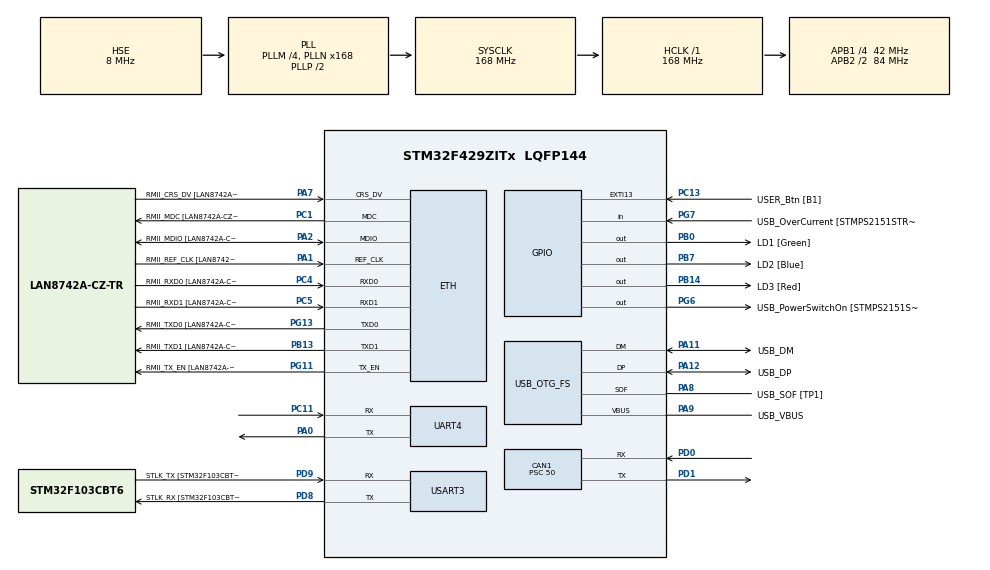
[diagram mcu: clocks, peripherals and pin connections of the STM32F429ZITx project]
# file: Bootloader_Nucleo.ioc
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CAN1.CalculateBaudRate=280000
CAN1.CalculateTimeBit=3571
CAN1.CalculateTimeQuantum=1190.4761904761906
CAN1.Prescaler=50
ETH.MediaInterface=HAL_ETH_RMII_MODE
ETH.PHY_Name=LAN8742A_PHY_ADDRESS
ETH.PHY_Value=0
ETH.PhyAddress=0
Mcu.Family=STM32F4
Mcu.Name=STM32F429ZITx
Mcu.Package=LQFP144
NVIC.CAN1_RX0_IRQn=true\:0\:0\:false\:false\:true\:true\:true\:true
NVIC.CAN1_RX1_IRQn=true\:0\:0\:false\:false\:true\:true\:true\:true
NVIC.CAN1_TX_IRQn=true\:0\:0\:false\:false\:true\:true\:true\:true
NVIC.PriorityGroup=NVIC_PRIORITYGROUP_4
NVIC.UART4_IRQn=true\:0\:0\:false\:false\:true\:true\:true\:true
PA0/WKUP.Mode=Asynchronous
PA0/WKUP.Signal=UART4_TX
PA1.GPIO_Label=RMII_REF_CLK [LAN8742A-CZ-TR_REFCLK0]
PA1.Mode=RMII
PA1.Signal=ETH_REF_CLK
PA10.GPIO_Label=USB_ID
PA10.Signal=USB_OTG_FS_ID
PA11.GPIO_Label=USB_DM
PA11.Mode=Device_Only
PA11.Signal=USB_OTG_FS_DM
PA12.GPIO_Label=USB_DP
PA12.Mode=Device_Only
PA12.Signal=USB_OTG_FS_DP
PA13.GPIO_Label=TMS
PA13.Mode=Serial_Wire
PA13.Signal=SYS_JTMS-SWDIO
PA14.GPIO_Label=TCK
PA14.Mode=Serial_Wire
PA14.Signal=SYS_JTCK-SWCLK
PA2.GPIO_Label=RMII_MDIO [LAN8742A-CZ-TR_MDIO]
PA2.Mode=RMII
PA2.Signal=ETH_MDIO
PA7.GPIO_Label=RMII_CRS_DV [LAN8742A-CZ-TR_CRS_DV]
PA7.Mode=RMII
PA7.Signal=ETH_CRS_DV
PA8.GPIO_Label=USB_SOF [TP1]
PA8.Mode=Activate_SOF_FS
PA8.Signal=USB_OTG_FS_SOF
PA9.GPIO_Label=USB_VBUS
PA9.Mode=Activate_VBUS
PA9.Signal=USB_OTG_FS_VBUS
PB0.GPIO_Label=LD1 [Green]
PB0.Signal=GPIO_Output
PB13.GPIO_Label=RMII_TXD1 [LAN8742A-CZ-TR_TXD1]
PB13.Mode=RMII
PB13.Signal=ETH_TXD1
PB14.GPIO_Label=LD3 [Red]
PB14.Signal=GPIO_Output
PB7.GPIO_Label=LD2 [Blue]
PB7.Signal=GPIO_Output
PC1.GPIO_Label=RMII_MDC [LAN8742A-CZ-TR_MDC]
PC1.Mode=RMII
PC1.Signal=ETH_MDC
PC11.Mode=Asynchronous
PC11.Signal=UART4_RX
PC13.GPIO_Label=USER_Btn [B1]
PC13.Signal=GPXTI13
PC14/OSC32_IN.Mode=LSE-External-Oscillator
PC14/OSC32_IN.Signal=RCC_OSC32_IN
PC15/OSC32_OUT.Mode=LSE-External-Oscillator
PC15/OSC32_OUT.Signal=RCC_OSC32_OUT
PC4.GPIO_Label=RMII_RXD0 [LAN8742A-CZ-TR_RXD0]
PC4.Mode=RMII
PC4.Signal=ETH_RXD0
PC5.GPIO_Label=RMII_RXD1 [LAN8742A-CZ-TR_RXD1]
PC5.Mode=RMII
PC5.Signal=ETH_RXD1
PD0.Mode=CAN_Activate
PD0.Signal=CAN1_RX
PD1.Mode=CAN_Activate
PD1.Signal=CAN1_TX
PD8.GPIO_Label=STLK_RX [STM32F103CBT6_PA3]
PD8.Mode=Asynchronous
PD8.Signal=USART3_TX
PD9.GPIO_Label=STLK_TX [STM32F103CBT6_PA2]
PD9.Mode=Asynchronous
PD9.Signal=USART3_RX
PG11.GPIO_Label=RMII_TX_EN [LAN8742A-CZ-TR_TXEN]
PG11.Mode=RMII
PG11.Signal=ETH_TX_EN
PG13.GPIO_Label=RMII_TXD0 [LAN8742A-CZ-TR_TXD0]
PG13.Mode=RMII
PG13.Signal=ETH_TXD0
PG6.GPIO_Label=USB_PowerSwitchOn [STMPS2151STR_EN]
PG6.Signal=GPIO_Output
PG7.GPIO_Label=USB_OverCurrent [STMPS2151STR_FAULT]
PG7.Signal=GPIO_Input
PH0/OSC_IN.GPIO_Label=MCO [STM32F103CBT6_PA8]
PH0/OSC_IN.Mode=HSE-External-Oscillator
PH0/OSC_IN.Signal=RCC_OSC_IN
PH1/OSC_OUT.Mode=HSE-External-Oscillator
PH1/OSC_OUT.Signal=RCC_OSC_OUT
ProjectManager.HeapSize=0x200
ProjectManager.StackSize=0x400
ProjectManager.TargetToolchain=STM32CubeIDE
RCC.48MHZClocksFreq_Value=48000000
RCC.AHBFreq_Value=168000000
RCC.APB1CLKDivider=RCC_HCLK_DIV4
RCC.APB1Freq_Value=42000000
RCC.APB1TimFreq_Value=84000000
RCC.APB2CLKDivider=RCC_HCLK_DIV2
RCC.APB2Freq_Value=84000000
RCC.APB2TimCLKDivider=2
RCC.APB2TimFreq_Value=168000000
RCC.CortexFreq_Value=168000000
RCC.HCLKFreq_Value=168000000
RCC.HSE_VALUE=8000000
RCC.HSI_VALUE=16000000
RCC.PLLM=4
RCC.PLLMUL=RCC_PLL_MUL9
RCC.PLLN=168
RCC.PLLQ=7
RCC.PRESCALERUSB=RCC_USBCLKSOURCE_PLL_DIV1_5
RCC.SYSCLKFreq_VALUE=168000000
RCC.SYSCLKSource=RCC_SYSCLKSOURCE_PLLCLK
RCC.SYSCLKSourceVirtual=RCC_SYSCLKSOURCE_PLLCLK
RCC.USBFreq_Value=48000000
RCC.VCOOutputFreq_Value=336000000
UART4.VirtualMode=Asynchronous
USART3.VirtualMode=VM_ASYNC
USB_OTG_FS.VirtualMode=Device_Only
board=NUCLEO-F429ZI

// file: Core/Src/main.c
/* USER CODE BEGIN Header */
/**
  ******************************************************************************
  * @file           : main.c
  * @brief          : Main program body
  ******************************************************************************
  * @attention
  *
  * Copyright (c) 2023 STMicroelectronics.
  * All rights reserved.
  *
  * This software is licensed under terms that can be found in the LICENSE file
  * in the root directory of this software component.
  * If no LICENSE file comes with this software, it is provided AS-IS.
  *
  ******************************************************************************
  */
/* USER CODE END Header */
#include "main.h"
#include "string.h"

ETH_TxPacketConfig TxConfig;
ETH_DMADescTypeDef  DMARxDscrTab[ETH_RX_DESC_CNT]; /* Ethernet Rx DMA Descriptors */
ETH_DMADescTypeDef  DMATxDscrTab[ETH_TX_DESC_CNT]; /* Ethernet Tx DMA Descriptors */

CAN_HandleTypeDef hcan1;

ETH_HandleTypeDef heth;

UART_HandleTypeDef huart4;
UART_HandleTypeDef huart3;

PCD_HandleTypeDef hpcd_USB_OTG_FS;

void SystemClock_Config(void);
static void MX_GPIO_Init(void);
static void MX_ETH_Init(void);
static void MX_USART3_UART_Init(void);
static void MX_USB_OTG_FS_PCD_Init(void);
static void MX_CAN1_Init(void);
static void MX_UART4_Init(void);

/* USER CODE BEGIN 0 */
CAN_TxHeaderTypeDef TxHeader;
CAN_RxHeaderTypeDef RxHeader;

uint8_t TxData[8];
uint8_t RxData[8];

uint32_t TxMailbox;
int datacheck = 0;

	//interruption
	/*void HAL_GPIO_EXTI_Callback(uint16_t GPIO_Pin){
		if(GPIO_Pin == GPIO_PIN_7){
			 TxData[0] = 200;  // ms delay
			 TxData[1] = 20;  // loop rep
		     HAL_CAN_AddTxMessage(&hcan1, &TxHeader, TxData, &TxMailbox);
	    }
	}*/

	//envoie de donnees
	void HAL_CAN_RxFifo0MsgPendingCallback(CAN_HandleTypeDef *hcan1)
		{
			HAL_CAN_GetRxMessage(hcan1, CAN_RX_FIFO0, &RxHeader, RxData);

			if (RxHeader.DLC == 2)
				{
					datacheck = 1;
				}

		}

/* USER CODE END 0 */

int main(void)
{

  /* MCU Configuration--------------------------------------------------------*/

  /* Reset of all peripherals, Initializes the Flash interface and the Systick. */
  HAL_Init();

  /* Configure the system clock */
  SystemClock_Config();

  /* Initialize all configured peripherals */
  MX_GPIO_Init();
  MX_ETH_Init();
  MX_USART3_UART_Init();
  MX_USB_OTG_FS_PCD_Init();
  MX_CAN1_Init();
  MX_UART4_Init();
  /* USER CODE BEGIN 2 */
  HAL_CAN_ActivateNotification(&hcan1, CAN_IT_RX_FIFO0_MSG_PENDING);
  	  	 TxHeader.DLC = 2;  // data length
         TxHeader.IDE = CAN_ID_STD;
         TxHeader.RTR = CAN_RTR_DATA;
         TxHeader.StdId = 0x429;  // ID

         TxData[0] = 1;   // m
         TxData[1] = 2;    // l

   HAL_CAN_AddTxMessage(&hcan1, &TxHeader, TxData, &TxMailbox);
  /* USER CODE END 2 */

  /* Infinite loop */
  /* USER CODE BEGIN WHILE */
  while (1)
  {
	  //HAL_CAN_RxFifo0MsgPendingCallback(&hcan1);

	  if (datacheck)
	  {
	   HAL_GPIO_TogglePin(GPIOA, GPIO_PIN_13);
	   datacheck = 0;
	   HAL_CAN_AddTxMessage(&hcan1, &TxHeader, TxData, &TxMailbox);
	  }
    /* USER CODE END WHILE */

  }
}

void SystemClock_Config(void)
{
  RCC_OscInitTypeDef RCC_OscInitStruct = {0};
  RCC_ClkInitTypeDef RCC_ClkInitStruct = {0};

  /** Configure the main internal regulator output voltage
  */
  __HAL_RCC_PWR_CLK_ENABLE();
  __HAL_PWR_VOLTAGESCALING_CONFIG(PWR_REGULATOR_VOLTAGE_SCALE1);

  /** Initializes the RCC Oscillators according to the specified parameters
  * in the RCC_OscInitTypeDef structure.
  */
  RCC_OscInitStruct.OscillatorType = RCC_OSCILLATORTYPE_HSE;
  RCC_OscInitStruct.HSEState = RCC_HSE_ON;
  RCC_OscInitStruct.PLL.PLLState = RCC_PLL_ON;
  RCC_OscInitStruct.PLL.PLLSource = RCC_PLLSOURCE_HSE;
  RCC_OscInitStruct.PLL.PLLM = 4;
  RCC_OscInitStruct.PLL.PLLN = 168;
  RCC_OscInitStruct.PLL.PLLP = RCC_PLLP_DIV2;
  RCC_OscInitStruct.PLL.PLLQ = 7;
  if (HAL_RCC_OscConfig(&RCC_OscInitStruct) != HAL_OK)
  {
    Error_Handler();
  }

  /** Initializes the CPU, AHB and APB buses clocks
  */
  RCC_ClkInitStruct.ClockType = RCC_CLOCKTYPE_HCLK|RCC_CLOCKTYPE_SYSCLK
                              |RCC_CLOCKTYPE_PCLK1|RCC_CLOCKTYPE_PCLK2;
  RCC_ClkInitStruct.SYSCLKSource = RCC_SYSCLKSOURCE_PLLCLK;
  RCC_ClkInitStruct.AHBCLKDivider = RCC_SYSCLK_DIV1;
  RCC_ClkInitStruct.APB1CLKDivider = RCC_HCLK_DIV4;
  RCC_ClkInitStruct.APB2CLKDivider = RCC_HCLK_DIV2;

  if (HAL_RCC_ClockConfig(&RCC_ClkInitStruct, FLASH_LATENCY_5) != HAL_OK)
  {
    Error_Handler();
  }
}

static void MX_CAN1_Init(void)
{

  hcan1.Instance = CAN1;
  hcan1.Init.Prescaler = 50;
  hcan1.Init.Mode = CAN_MODE_NORMAL;
  hcan1.Init.SyncJumpWidth = CAN_SJW_1TQ;
  hcan1.Init.TimeSeg1 = CAN_BS1_1TQ;
  hcan1.Init.TimeSeg2 = CAN_BS2_1TQ;
  hcan1.Init.TimeTriggeredMode = DISABLE;
  hcan1.Init.AutoBusOff = DISABLE;
  hcan1.Init.AutoWakeUp = DISABLE;
  hcan1.Init.AutoRetransmission = DISABLE;
  hcan1.Init.ReceiveFifoLocked = DISABLE;
  hcan1.Init.TransmitFifoPriority = DISABLE;
  if (HAL_CAN_Init(&hcan1) != HAL_OK)
  {
    Error_Handler();
  }

}

static void MX_ETH_Init(void)
{

   static uint8_t MACAddr[6];

  heth.Instance = ETH;
  MACAddr[0] = 0x00;
  MACAddr[1] = 0x80;
  MACAddr[2] = 0xE1;
  MACAddr[3] = 0x00;
  MACAddr[4] = 0x00;
  MACAddr[5] = 0x00;
  heth.Init.MACAddr = &MACAddr[0];
  heth.Init.MediaInterface = HAL_ETH_RMII_MODE;
  heth.Init.TxDesc = DMATxDscrTab;
  heth.Init.RxDesc = DMARxDscrTab;
  heth.Init.RxBuffLen = 1524;

  if (HAL_ETH_Init(&heth) != HAL_OK)
  {
    Error_Handler();
  }

  memset(&TxConfig, 0 , sizeof(ETH_TxPacketConfig));
  TxConfig.Attributes = ETH_TX_PACKETS_FEATURES_CSUM | ETH_TX_PACKETS_FEATURES_CRCPAD;
  TxConfig.ChecksumCtrl = ETH_CHECKSUM_IPHDR_PAYLOAD_INSERT_PHDR_CALC;
  TxConfig.CRCPadCtrl = ETH_CRC_PAD_INSERT;

}

static void MX_UART4_Init(void)
{

  huart4.Instance = UART4;
  huart4.Init.BaudRate = 115200;
  huart4.Init.WordLength = UART_WORDLENGTH_8B;
  huart4.Init.StopBits = UART_STOPBITS_1;
  huart4.Init.Parity = UART_PARITY_NONE;
  huart4.Init.Mode = UART_MODE_TX_RX;
  huart4.Init.HwFlowCtl = UART_HWCONTROL_NONE;
  huart4.Init.OverSampling = UART_OVERSAMPLING_16;
  if (HAL_UART_Init(&huart4) != HAL_OK)
  {
    Error_Handler();
  }

}

static void MX_USART3_UART_Init(void)
{

  huart3.Instance = USART3;
  huart3.Init.BaudRate = 115200;
  huart3.Init.WordLength = UART_WORDLENGTH_8B;
  huart3.Init.StopBits = UART_STOPBITS_1;
  huart3.Init.Parity = UART_PARITY_NONE;
  huart3.Init.Mode = UART_MODE_TX_RX;
  huart3.Init.HwFlowCtl = UART_HWCONTROL_NONE;
  huart3.Init.OverSampling = UART_OVERSAMPLING_16;
  if (HAL_UART_Init(&huart3) != HAL_OK)
  {
    Error_Handler();
  }

}

static void MX_USB_OTG_FS_PCD_Init(void)
{

  hpcd_USB_OTG_FS.Instance = USB_OTG_FS;
  hpcd_USB_OTG_FS.Init.dev_endpoints = 4;
  hpcd_USB_OTG_FS.Init.speed = PCD_SPEED_FULL;
  hpcd_USB_OTG_FS.Init.dma_enable = DISABLE;
  hpcd_USB_OTG_FS.Init.phy_itface = PCD_PHY_EMBEDDED;
  hpcd_USB_OTG_FS.Init.Sof_enable = ENABLE;
  hpcd_USB_OTG_FS.Init.low_power_enable = DISABLE;
  hpcd_USB_OTG_FS.Init.lpm_enable = DISABLE;
  hpcd_USB_OTG_FS.Init.vbus_sensing_enable = ENABLE;
  hpcd_USB_OTG_FS.Init.use_dedicated_ep1 = DISABLE;
  if (HAL_PCD_Init(&hpcd_USB_OTG_FS) != HAL_OK)
  {
    Error_Handler();
  }

}

static void MX_GPIO_Init(void)
{
  GPIO_InitTypeDef GPIO_InitStruct = {0};

  /* GPIO Ports Clock Enable */
  __HAL_RCC_GPIOC_CLK_ENABLE();
  __HAL_RCC_GPIOH_CLK_ENABLE();
  __HAL_RCC_GPIOA_CLK_ENABLE();
  __HAL_RCC_GPIOB_CLK_ENABLE();
  __HAL_RCC_GPIOD_CLK_ENABLE();
  __HAL_RCC_GPIOG_CLK_ENABLE();

  /*Configure GPIO pin Output Level */
  HAL_GPIO_WritePin(GPIOB, LD1_Pin|LD3_Pin|LD2_Pin, GPIO_PIN_RESET);

  /*Configure GPIO pin Output Level */
  HAL_GPIO_WritePin(USB_PowerSwitchOn_GPIO_Port, USB_PowerSwitchOn_Pin, GPIO_PIN_RESET);

  /*Configure GPIO pin : USER_Btn_Pin */
  GPIO_InitStruct.Pin = USER_Btn_Pin;
  GPIO_InitStruct.Mode = GPIO_MODE_IT_RISING;
  GPIO_InitStruct.Pull = GPIO_NOPULL;
  HAL_GPIO_Init(USER_Btn_GPIO_Port, &GPIO_InitStruct);

  /*Configure GPIO pins : LD1_Pin LD3_Pin LD2_Pin */
  GPIO_InitStruct.Pin = LD1_Pin|LD3_Pin|LD2_Pin;
  GPIO_InitStruct.Mode = GPIO_MODE_OUTPUT_PP;
  GPIO_InitStruct.Pull = GPIO_NOPULL;
  GPIO_InitStruct.Speed = GPIO_SPEED_FREQ_LOW;
  HAL_GPIO_Init(GPIOB, &GPIO_InitStruct);

  /*Configure GPIO pin : USB_PowerSwitchOn_Pin */
  GPIO_InitStruct.Pin = USB_PowerSwitchOn_Pin;
  GPIO_InitStruct.Mode = GPIO_MODE_OUTPUT_PP;
  GPIO_InitStruct.Pull = GPIO_NOPULL;
  GPIO_InitStruct.Speed = GPIO_SPEED_FREQ_LOW;
  HAL_GPIO_Init(USB_PowerSwitchOn_GPIO_Port, &GPIO_InitStruct);

  /*Configure GPIO pin : USB_OverCurrent_Pin */
  GPIO_InitStruct.Pin = USB_OverCurrent_Pin;
  GPIO_InitStruct.Mode = GPIO_MODE_INPUT;
  GPIO_InitStruct.Pull = GPIO_NOPULL;
  HAL_GPIO_Init(USB_OverCurrent_GPIO_Port, &GPIO_InitStruct);

}

void Error_Handler(void)
{
  __disable_irq();
  while (1)
  {
  }
}
